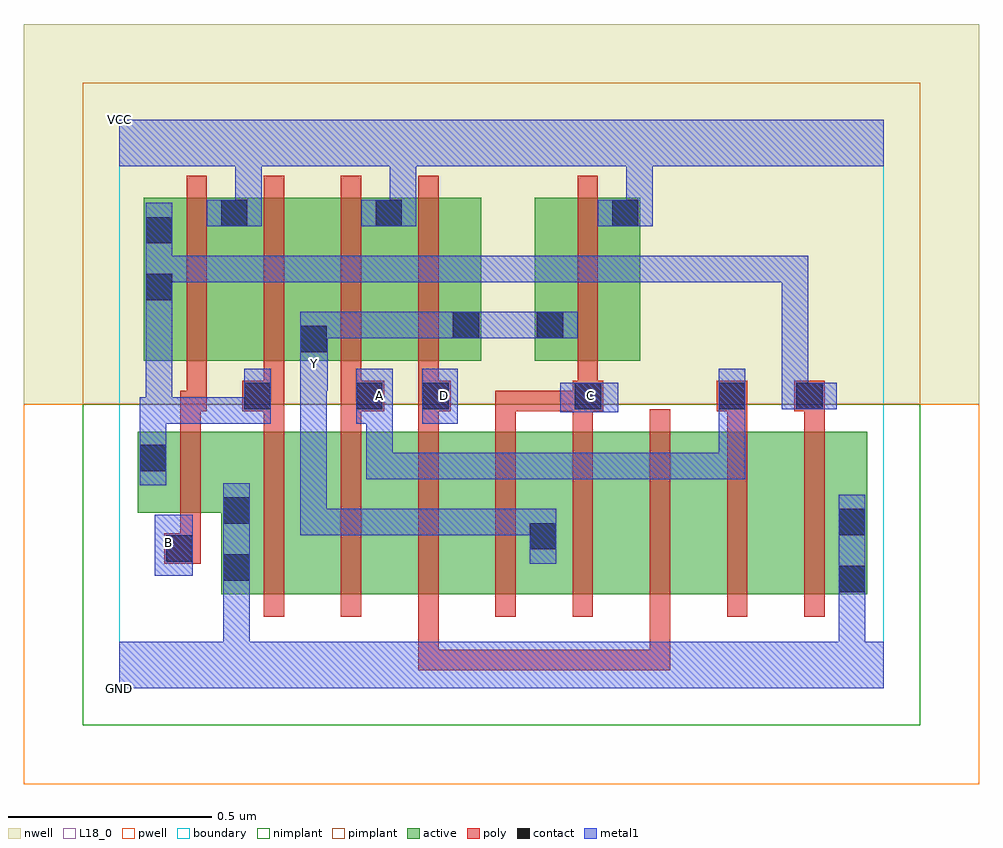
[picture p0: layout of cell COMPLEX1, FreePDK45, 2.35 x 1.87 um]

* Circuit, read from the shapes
.subckt COMPLEX1 A B C D GND VCC Y
M1 GND B n1 VSUBS nfet w=0.2u l=0.05u
M2 n2 n1 GND VSUBS nfet w=0.4u l=0.05u
M3 n3 A n2 VSUBS nfet w=0.4u l=0.05u
M4 n4 D n3 VSUBS nfet w=0.4u l=0.05u
M5 Y C n4 VSUBS nfet w=0.4u l=0.05u
M6 n5 C Y VSUBS nfet w=0.4u l=0.05u
M7 n6 D n5 VSUBS nfet w=0.4u l=0.05u
M8 n7 A n6 VSUBS nfet w=0.4u l=0.05u
M9 GND n1 n7 VSUBS nfet w=0.4u l=0.05u
M10 VCC B n1 n8 pfet w=0.4u l=0.05u
M11 Y n1 VCC n8 pfet w=0.4u l=0.05u
M12 VCC A Y n8 pfet w=0.4u l=0.05u
M13 Y D VCC n8 pfet w=0.4u l=0.05u
M14 VCC C Y n8 pfet w=0.4u l=0.05u
.ends

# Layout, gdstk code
import gdstk
lib = gdstk.Library(unit=1e-6, precision=1e-09)
def R(c, l, rs):  # rectangles x0, y0, x1, y1
    for r in rs: c.add(gdstk.rectangle(r[:2], r[2:], *l))
def A(c, l, x, y, w, h, nx, ny, dx, dy):  # array of equal rectangles
    R(c, l, [(x+i*dx, y+j*dy, x+i*dx+w, y+j*dy+h) for i in range(nx) for j in range(ny)])
active = (1, 0)
pwell = (2, 0)
nwell = (3, 0)
nimplant = (4, 0)
pimplant = (5, 0)
poly = (9, 0)
contact = (10, 0)
metal1 = (11, 0)
L18_0 = (18, 0)
boundary = (235, 0)

complex1 = lib.new_cell('COMPLEX1')
R(complex1, active, [(0.25,0.232,0.475,0.632), (0.475,0.232,0.665,0.632), (0.665,0.232,0.855,0.632), (0.855,0.232,1.08,0.632), (1.005,0.232,1.235,0.632), (1.005,0.232,1.08,0.617), (1.235,0.232,1.425,0.632), (1.425,0.232,1.615,0.632), (1.615,0.232,1.84,0.632), (1.765,0.232,1.84,0.632), (0.25,0.26,0.325,0.525), (0.045,0.432,0.325,0.632), (0.045,0.432,0.12,0.632), (0.06,0.807,0.32,1.207), (0.06,0.807,0.135,1.2), (0.245,0.807,0.515,1.207), (0.44,0.807,0.7,1.207), (0.625,0.807,0.89,1.207), (0.815,0.807,0.89,1.07), (1.022,0.807,1.282,1.207), (1.022,0.807,1.097,1.07), (1.207,0.807,1.282,1.207), (0.44,0.815,0.515,1.07), (0.245,0.907,0.32,1.207), (0.625,0.907,0.7,1.207)])
R(complex1, pwell, [(-0.235,-0.235,2.115,0.7)])
R(complex1, nwell, [(-0.235,0.7,2.115,1.635)])
R(complex1, nimplant, [(-0.09,-0.09,1.97,0.7)])
R(complex1, pimplant, [(-0.09,0.7,1.97,1.49)])
A(complex1, poly, 0.355, 0.177, 0.05, 0.51, 8, 1, 0.19, 0)
A(complex1, poly, 0.355, 0.637, 0.05, 0.095, 5, 1, 0.19, 0)
A(complex1, poly, 0.355, 0.707, 0.05, 0.095, 3, 1, 0.19, 0)
A(complex1, poly, 0.165, 0.752, 0.05, 0.51, 4, 1, 0.19, 0)
R(complex1, poly, [(0.735,0.045,0.785,0.227), (0.735,0.045,0.785,0.095), (0.735,0.045,0.785,0.095), (0.735,0.045,0.785,0.095), (0.735,0.045,1.007,0.095), (0.957,0.045,1.007,0.095), (0.957,0.045,1.007,0.095), (0.957,0.045,1.007,0.095), (0.957,0.045,1.222,0.095), (1.172,0.045,1.222,0.095), (1.172,0.045,1.355,0.095), (1.305,0.045,1.355,0.227), (1.305,0.045,1.355,0.095), (1.305,0.045,1.355,0.095), (1.305,0.045,1.355,0.095), (0.11,0.307,0.2,0.382), (0.15,0.332,0.2,0.427), (0.15,0.377,0.2,0.687), (0.15,0.637,0.2,0.732), (1.495,0.637,1.545,0.732), (1.685,0.637,1.735,0.732), (0.15,0.682,0.215,0.732), (0.165,0.682,0.215,0.802), (0.302,0.682,0.405,0.757), (0.545,0.682,0.652,0.757), (0.735,0.682,0.815,0.757), (0.925,0.682,0.975,0.732), (0.925,0.682,0.975,0.732), (0.925,0.682,0.975,0.732), (0.925,0.682,1.165,0.732), (1.115,0.682,1.19,0.757), (1.47,0.682,1.545,0.757), (1.66,0.682,1.735,0.757), (1.127,0.707,1.177,0.802), (1.127,0.752,1.177,1.262)])
R(complex1, contact, [(1.77,0.237,1.835,0.302), (0.255,0.265,0.32,0.33), (0.115,0.312,0.18,0.377), (1.01,0.342,1.075,0.407), (1.77,0.377,1.835,0.442), (0.255,0.405,0.32,0.47), (0.05,0.535,0.115,0.6), (0.307,0.687,0.372,0.752), (0.582,0.687,0.647,0.752), (0.745,0.687,0.81,0.752), (1.12,0.687,1.185,0.752), (1.475,0.687,1.54,0.752), (1.665,0.687,1.73,0.752), (0.445,0.827,0.51,0.892), (0.82,0.862,0.885,0.927), (1.027,0.862,1.092,0.927), (0.065,0.955,0.13,1.02), (0.065,1.095,0.13,1.16), (0.25,1.137,0.315,1.202), (0.63,1.137,0.695,1.202), (1.212,1.137,1.277,1.202)])
R(complex1, metal1, [(0,0,1.88,0.115), (0.255,0.05,0.32,0.115), (0.255,0.05,0.32,0.115), (0.255,0.05,0.32,0.295), (1.77,0.05,1.835,0.267), (1.77,0.05,1.835,0.115), (1.77,0.05,1.835,0.115), (1.77,0.202,1.835,0.477), (0.255,0.23,0.32,0.505), (0.087,0.277,0.18,0.427), (1.01,0.307,1.075,0.442), (0.445,0.377,0.51,0.442), (0.445,0.377,0.51,0.442), (0.445,0.377,0.51,0.442), (0.445,0.377,0.51,0.442), (0.445,0.377,0.51,0.442), (0.445,0.377,0.672,0.442), (0.445,0.377,0.51,0.797), (0.607,0.377,0.672,0.442), (0.607,0.377,0.81,0.442), (0.745,0.377,0.81,0.442), (0.745,0.377,0.81,0.442), (0.745,0.377,0.81,0.442), (0.745,0.377,0.987,0.442), (0.922,0.377,0.987,0.442), (0.922,0.377,1.075,0.442), (0.05,0.5,0.115,0.635), (0.607,0.515,0.672,0.58), (0.607,0.515,0.672,0.717), (0.607,0.515,0.85,0.58), (0.785,0.515,0.85,0.58), (0.785,0.515,0.85,0.58), (0.785,0.515,0.85,0.58), (0.785,0.515,0.987,0.58), (0.922,0.515,0.987,0.58), (0.922,0.515,1.105,0.58), (1.04,0.515,1.105,0.58), (1.04,0.515,1.125,0.58), (1.06,0.515,1.125,0.58), (1.06,0.515,1.3,0.58), (1.235,0.515,1.3,0.58), (1.235,0.515,1.3,0.58), (1.235,0.515,1.3,0.58), (1.235,0.515,1.54,0.58), (1.475,0.515,1.54,0.58), (1.475,0.515,1.54,0.717), (0.05,0.57,0.115,0.717), (0.05,0.652,0.13,0.717), (0.065,0.652,0.13,0.717), (0.065,0.652,0.13,0.717), (0.065,0.652,0.372,0.717), (0.065,0.652,0.13,0.985), (0.307,0.652,0.372,0.717), (0.307,0.652,0.372,0.717), (0.307,0.652,0.372,0.787), (0.582,0.652,0.672,0.787), (0.607,0.652,0.672,0.717), (0.607,0.652,0.672,0.717), (0.745,0.652,0.832,0.787), (1.475,0.652,1.54,0.717), (1.475,0.652,1.54,0.717), (1.475,0.652,1.54,0.787), (1.085,0.68,1.227,0.752), (1.63,0.687,1.695,0.752), (1.63,0.687,1.695,0.752), (1.63,0.687,1.765,0.752), (1.63,0.687,1.695,1.065), (0.445,0.732,0.512,0.867), (0.445,0.792,0.51,0.857), (0.445,0.792,0.51,0.927), (0.445,0.862,0.51,0.927), (0.445,0.862,0.51,0.927), (0.445,0.862,0.672,0.927), (0.607,0.862,0.672,0.927), (0.607,0.862,0.85,0.927), (0.785,0.862,0.85,0.927), (0.785,0.862,0.85,0.927), (0.785,0.862,0.92,0.927), (0.855,0.862,0.987,0.927), (0.922,0.862,0.987,0.927), (0.922,0.862,1.057,0.927), (0.992,0.862,1.127,0.927), (0.065,0.92,0.13,1.195), (0.065,1,0.13,1.065), (0.065,1,0.13,1.065), (0.065,1,0.372,1.065), (0.307,1,0.372,1.065), (0.307,1,0.372,1.065), (0.307,1,0.372,1.065), (0.307,1,0.372,1.065), (0.307,1,0.372,1.065), (0.307,1,0.52,1.065), (0.455,1,0.52,1.065), (0.455,1,0.52,1.065), (0.455,1,0.52,1.065), (0.455,1,0.657,1.065), (0.592,1,0.657,1.065), (0.592,1,0.81,1.065), (0.745,1,0.81,1.065), (0.745,1,0.81,1.065), (0.745,1,0.81,1.065), (0.745,1,0.987,1.065), (0.922,1,0.987,1.065), (0.922,1,1.105,1.065), (1.04,1,1.105,1.065), (1.04,1,1.125,1.065), (1.06,1,1.125,1.065), (1.06,1,1.397,1.065), (1.332,1,1.397,1.065), (1.332,1,1.397,1.065), (1.332,1,1.397,1.065), (1.332,1,1.397,1.065), (1.332,1,1.397,1.065), (1.332,1,1.535,1.065), (1.47,1,1.535,1.065), (1.47,1,1.535,1.065), (1.47,1,1.535,1.065), (1.47,1,1.695,1.065), (1.63,1,1.695,1.065), (0.215,1.137,0.35,1.202), (0.285,1.137,0.35,1.35), (0.595,1.137,0.73,1.202), (0.665,1.137,0.73,1.35), (1.177,1.137,1.312,1.202), (1.247,1.137,1.312,1.35), (0,1.285,1.88,1.4)])
R(complex1, L18_0, [(0,0,1.88,0.115), (0.255,0.05,0.32,0.115), (0.255,0.05,0.32,0.115), (0.255,0.05,0.32,0.295), (1.77,0.05,1.835,0.115), (1.77,0.05,1.835,0.115), (1.77,0.05,1.835,0.267), (1.77,0.202,1.835,0.477), (0.255,0.23,0.32,0.505), (0.087,0.277,0.18,0.427), (1.01,0.307,1.075,0.442), (0.087,0.327,0.152,0.392), (0.445,0.377,0.51,0.442), (0.445,0.377,0.51,0.442), (0.445,0.377,0.51,0.442), (0.445,0.377,0.51,0.442), (0.445,0.377,0.51,0.442), (0.445,0.377,0.51,0.797), (0.445,0.377,0.672,0.442), (0.607,0.377,0.672,0.442), (0.607,0.377,0.81,0.442), (0.745,0.377,0.81,0.442), (0.745,0.377,0.81,0.442), (0.745,0.377,0.81,0.442), (0.745,0.377,0.987,0.442), (0.922,0.377,0.987,0.442), (0.922,0.377,1.075,0.442), (0.607,0.515,0.672,0.58), (0.607,0.515,0.672,0.717), (0.607,0.515,0.85,0.58), (0.785,0.515,0.85,0.58), (0.785,0.515,0.85,0.58), (0.785,0.515,0.85,0.58), (0.785,0.515,0.987,0.58), (0.922,0.515,0.987,0.58), (0.922,0.515,1.105,0.58), (1.04,0.515,1.105,0.58), (1.04,0.515,1.125,0.58), (1.06,0.515,1.125,0.58), (1.06,0.515,1.3,0.58), (1.235,0.515,1.3,0.58), (1.235,0.515,1.3,0.58), (1.235,0.515,1.3,0.58), (1.235,0.515,1.54,0.58), (1.475,0.515,1.54,0.58), (1.475,0.515,1.54,0.717), (0.582,0.652,0.672,0.787), (0.607,0.652,0.672,0.717), (0.607,0.652,0.672,0.717), (0.745,0.652,0.832,0.787), (1.475,0.652,1.54,0.717), (1.475,0.652,1.54,0.717), (1.475,0.652,1.54,0.787), (1.085,0.68,1.227,0.752), (0.607,0.687,0.672,0.752), (0.767,0.687,0.832,0.752), (1.127,0.687,1.192,0.752), (0.445,0.732,0.512,0.867), (0.447,0.767,0.512,0.832), (0.445,0.792,0.51,0.857), (0.445,0.792,0.51,0.927), (0.445,0.862,0.51,0.927), (0.445,0.862,0.51,0.927), (0.445,0.862,0.672,0.927), (0.607,0.862,0.672,0.927), (0.607,0.862,0.85,0.927), (0.785,0.862,0.85,0.927), (0.785,0.862,0.85,0.927), (0.785,0.862,0.92,0.927), (0.855,0.862,0.987,0.927), (0.922,0.862,0.987,0.927), (0.922,0.862,1.057,0.927), (0.992,0.862,1.127,0.927), (0.215,1.137,0.35,1.202), (0.285,1.137,0.35,1.35), (0.595,1.137,0.73,1.202), (0.665,1.137,0.73,1.35), (1.177,1.137,1.312,1.202), (1.247,1.137,1.312,1.35), (0,1.285,1.88,1.4)])
R(complex1, boundary, [(0,0,1.88,1.4)])
complex1.add(gdstk.Label('A', (0.64,0.72), layer=11, texttype=0))
complex1.add(gdstk.Label('B', (0.12,0.36), layer=11, texttype=0))
complex1.add(gdstk.Label('C', (1.16,0.72), layer=11, texttype=0))
complex1.add(gdstk.Label('D', (0.8,0.72), layer=11, texttype=0))
complex1.add(gdstk.Label('Y', (0.48,0.8), layer=11, texttype=0))
complex1.add(gdstk.Label('VCC', (0,1.4), layer=11, texttype=0))
complex1.add(gdstk.Label('GND', (0,0), layer=11, texttype=0))

lib.write_gds('COMPLEX1.gds')
